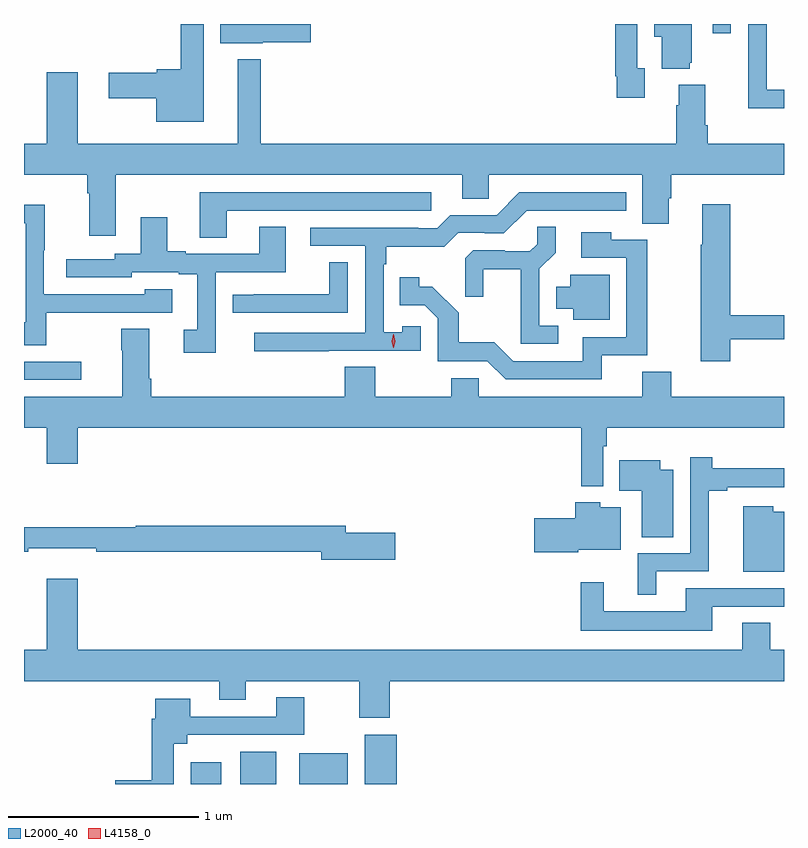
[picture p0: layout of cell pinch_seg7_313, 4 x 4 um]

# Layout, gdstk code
import gdstk
lib = gdstk.Library(unit=1e-6, precision=1e-09)
def R(c, l, rs):  # rectangles x0, y0, x1, y1
    for r in rs: c.add(gdstk.rectangle(r[:2], r[2:], *l))
def P(c, l, *ps):  # polygons
    for p in ps: c.add(gdstk.Polygon(p, *l))
L2000_40 = (2000, 40)
L4158_0 = (4158, 0)

pinch_seg7_313 = lib.new_cell('pinch_seg7_313')
R(pinch_seg7_313, L2000_40, [(405.527,1075.998,405.688,1076.113), (405.788,1075.998,405.976,1076.167), (406.097,1075.998,406.354,1076.161), (406.442,1075.998,406.61,1076.257), (404.649,1078.125,404.95,1078.221), (408.273,1079.949,408.369,1079.998)])
P(pinch_seg7_313, L2000_40, [(405.906,1079.903),(406.159,1079.903),(406.159,1079.998),(405.683,1079.998),(405.683,1079.897),(405.906,1079.897)],
  [(408.152,1079.793),(408.163,1079.793),(408.163,1079.998),(407.966,1079.998),(407.966,1079.93),(408.005,1079.93),(408.005,1079.762),(408.152,1079.762)],
  [(405.595,1079.998),(405.474,1079.998),(405.474,1079.759),(405.348,1079.759),(405.348,1079.741),(405.096,1079.741),(405.096,1079.606),(405.344,1079.606),(405.344,1079.483),(405.595,1079.483)],
  [(408.649,1079.652),(408.559,1079.652),(408.559,1079.906),(408.558,1079.906),(408.558,1079.998),(408.462,1079.998),(408.462,1079.861),(408.46,1079.861),(408.46,1079.555),(408.649,1079.555)],
  [(407.917,1079.766),(407.877,1079.766),(407.877,1079.998),(407.761,1079.998),(407.761,1079.722),(407.769,1079.722),(407.769,1079.61),(407.917,1079.61)],
  [(405.133,1079.204),(406.955,1079.204),(406.955,1079.077),(407.094,1079.077),(407.094,1079.204),(407.903,1079.204),(407.903,1078.948),(408.043,1078.948),(408.043,1079.082),(408.056,1079.082),(408.056,1079.204),(408.649,1079.204),(408.649,1079.368),(408.248,1079.368),(408.248,1079.464),(408.235,1079.464),(408.235,1079.677),(408.095,1079.677),(408.095,1079.57),(408.083,1079.57),(408.083,1079.368),(405.895,1079.368),(405.895,1079.812),(405.773,1079.812),(405.773,1079.368),(404.932,1079.368),(404.932,1079.743),(404.768,1079.743),(404.768,1079.368),(404.649,1079.368),(404.649,1079.204),(404.981,1079.204),(404.981,1079.108),(404.993,1079.108),(404.993,1078.884),(405.133,1078.884)],
  [(405.715,1079.016),(406.792,1079.016),(406.792,1079.112),(405.575,1079.112),(405.575,1078.873),(405.715,1078.873)],
  [(406.253,1078.278),(406.737,1078.278),(406.737,1078.407),(406.641,1078.407),(406.641,1078.375),(406.542,1078.375),(406.542,1078.733),(406.555,1078.733),(406.555,1078.826),(406.862,1078.826),(406.935,1078.899),(407.074,1078.899),(407.074,1078.896),(407.175,1078.896),(407.295,1079.016),(407.818,1079.016),(407.818,1079.112),(407.256,1079.112),(407.136,1078.992),(406.893,1078.992),(406.824,1078.923),(406.724,1078.923),(406.724,1078.926),(406.155,1078.926),(406.155,1078.83),(406.446,1078.83),(406.446,1078.374),(405.861,1078.374),(405.861,1078.276),(406.253,1078.276)],
  [(408.365,1078.338),(408.649,1078.338),(408.649,1078.466),(408.365,1078.466),(408.365,1079.05),(408.218,1079.05),(408.218,1078.837),(408.211,1078.837),(408.211,1078.224),(408.365,1078.224)],
  [(404.767,1078.477),(405.071,1078.477),(405.071,1078.479),(405.43,1078.479),(405.43,1078.603),(405.285,1078.603),(405.285,1078.575),(404.754,1078.575),(404.754,1078.808),(404.757,1078.808),(404.757,1079.047),(404.649,1079.047),(404.649,1078.949),(404.658,1078.949),(404.658,1078.428),(404.649,1078.428),(404.649,1078.306),(404.767,1078.306)],
  [(405.657,1078.692),(406.027,1078.692),(406.027,1078.931),(405.887,1078.931),(405.887,1078.788),(405.499,1078.788),(405.499,1078.801),(405.403,1078.801),(405.403,1078.981),(405.263,1078.981),(405.263,1078.788),(405.126,1078.788),(405.126,1078.761),(404.871,1078.761),(404.871,1078.665),(405.216,1078.665),(405.216,1078.692),(405.464,1078.692),(405.464,1078.68),(405.56,1078.68),(405.56,1078.389),(405.489,1078.389),(405.489,1078.269),(405.657,1078.269)],
  [(407.461,1078.41),(407.361,1078.41),(407.361,1078.709),(407.447,1078.795),(407.447,1078.931),(407.349,1078.931),(407.349,1078.84),(407.312,1078.803),(407.178,1078.803),(407.178,1078.806),(407.013,1078.806),(406.972,1078.765),(406.972,1078.563),(407.066,1078.563),(407.066,1078.706),(407.264,1078.706),(407.264,1078.314),(407.461,1078.314)],
  [(407.69,1078.254),(407.929,1078.254),(407.929,1078.863),(407.739,1078.863),(407.739,1078.903),(407.583,1078.903),(407.583,1078.767),(407.82,1078.767),(407.82,1078.35),(407.591,1078.35),(407.591,1078.224),(407.223,1078.224),(407.125,1078.323),(406.936,1078.323),(406.936,1078.478),(406.798,1078.616),(406.728,1078.616),(406.728,1078.666),(406.627,1078.666),(406.627,1078.518),(406.758,1078.518),(406.827,1078.449),(406.827,1078.224),(407.088,1078.224),(407.184,1078.128),(407.69,1078.128)],
  [(406.353,1078.745),(406.255,1078.745),(406.255,1078.575),(405.859,1078.575),(405.859,1078.574),(405.747,1078.574),(405.747,1078.479),(406.353,1078.479)],
  [(407.731,1078.678),(407.525,1078.678),(407.525,1078.615),(407.45,1078.615),(407.45,1078.499),(407.54,1078.499),(407.54,1078.442),(407.731,1078.442)],
  [(407.697,1077.776),(407.717,1077.776),(407.717,1077.872),(408.649,1077.872),(408.649,1078.036),(408.056,1078.036),(408.056,1078.169),(407.903,1078.169),(407.903,1078.036),(407.043,1078.036),(407.043,1078.134),(406.897,1078.134),(406.897,1078.036),(406.497,1078.036),(406.497,1078.193),(406.337,1078.193),(406.337,1078.036),(405.32,1078.036),(405.32,1078.132),(405.307,1078.132),(405.307,1078.393),(405.16,1078.393),(405.16,1078.28),(405.167,1078.28),(405.167,1078.036),(404.649,1078.036),(404.649,1077.872),(404.768,1077.872),(404.768,1077.684),(404.932,1077.684),(404.932,1077.872),(407.581,1077.872),(407.581,1077.566),(407.697,1077.566)],
  [(407.977,1077.117),(408.254,1077.117),(408.254,1077.541),(408.349,1077.541),(408.349,1077.561),(408.649,1077.561),(408.649,1077.659),(408.272,1077.659),(408.272,1077.718),(408.156,1077.718),(408.156,1077.213),(407.879,1077.213),(407.879,1076.993),(407.977,1076.993)],
  [(408.067,1077.652),(407.998,1077.652),(407.998,1077.703),(407.782,1077.703),(407.782,1077.542),(407.9,1077.542),(407.9,1077.298),(408.067,1077.298)],
  [(407.565,1077.23),(407.791,1077.23),(407.791,1077.454),(407.682,1077.454),(407.682,1077.481),(407.549,1077.481),(407.549,1077.396),(407.334,1077.396),(407.334,1077.218),(407.565,1077.218)],
  [(408.649,1077.43),(408.592,1077.43),(408.592,1077.46),(408.434,1077.46),(408.434,1077.116),(408.649,1077.116)],
  [(406.603,1077.32),(406.342,1077.32),(406.342,1077.356),(405.238,1077.356),(405.238,1077.349),(404.649,1077.349),(404.649,1077.22),(404.672,1077.22),(404.672,1077.239),(405.028,1077.239),(405.028,1077.22),(406.214,1077.22),(406.214,1077.178),(406.603,1077.178)],
  [(406.574,1076.54),(408.649,1076.54),(408.649,1076.704),(408.576,1076.704),(408.576,1076.846),(408.428,1076.846),(408.428,1076.704),(404.932,1076.704),(404.932,1077.079),(404.768,1077.079),(404.768,1076.704),(404.649,1076.704),(404.649,1076.54),(405.677,1076.54),(405.677,1076.441),(405.817,1076.441),(405.817,1076.54),(406.414,1076.54),(406.414,1076.346),(406.574,1076.346)],
  [(408.271,1076.931),(408.649,1076.931),(408.649,1077.027),(408.131,1077.027),(408.131,1076.908),(407.701,1076.908),(407.701,1077.061),(407.58,1077.061),(407.58,1076.804),(408.271,1076.804)],
  [(405.438,1076.21),(405.508,1076.21),(405.508,1076.256),(406.125,1076.256),(406.125,1076.455),(405.977,1076.455),(405.977,1076.352),(405.523,1076.352),(405.523,1076.446),(405.341,1076.446),(405.341,1076.342),(405.322,1076.342),(405.322,1076.017),(405.128,1076.017),(405.128,1075.998),(405.438,1075.998)])
P(pinch_seg7_313, L4158_0, [(406.593,1078.293),(406.584,1078.329),(406.593,1078.365),(406.594,1078.365),(406.594,1078.365),(406.604,1078.329),(406.594,1078.293),(406.594,1078.293)])

lib.write_gds('pinch_seg7_313.gds')
